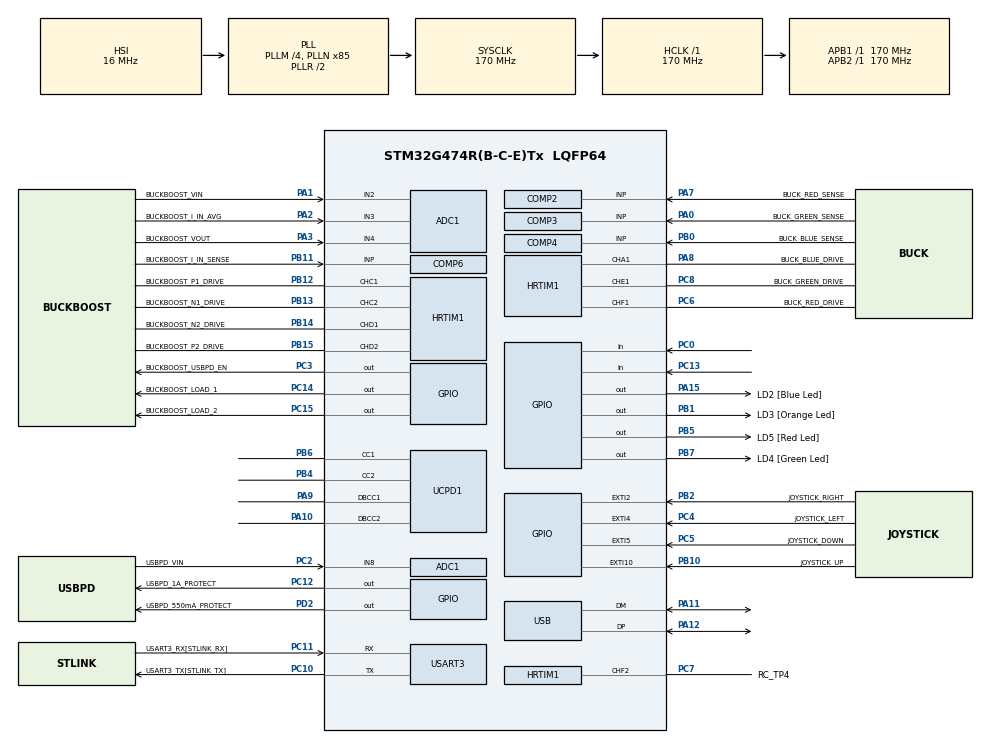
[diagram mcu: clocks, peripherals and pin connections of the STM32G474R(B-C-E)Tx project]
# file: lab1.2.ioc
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ADC1.Channel-0\#ChannelRegularConversion=ADC_CHANNEL_8
ADC1.NbrOfConversionFlag=1
ADC1.OffsetNumber-0\#ChannelRegularConversion=ADC_OFFSET_NONE
ADC1.Rank-0\#ChannelRegularConversion=1
ADC1.SamplingTime-0\#ChannelRegularConversion=ADC_SAMPLETIME_2CYCLES_5
ADC1.master=1
DAC3.DAC_Channel-DAC_OUT2_Int=DAC_CHANNEL_2
Mcu.Family=STM32G4
Mcu.Name=STM32G474R(B-C-E)Tx
Mcu.Package=LQFP64
NVIC.ADC1_2_IRQn=true\:0\:0\:false\:false\:true\:true\:true\:true
NVIC.EXTI15_10_IRQn=true\:0\:0\:false\:false\:true\:true\:true\:true
NVIC.EXTI2_IRQn=true\:0\:0\:false\:false\:true\:true\:true\:true
NVIC.EXTI4_IRQn=true\:0\:0\:false\:false\:true\:true\:true\:true
NVIC.EXTI9_5_IRQn=true\:0\:0\:false\:false\:true\:true\:true\:true
NVIC.HRTIM1_Master_IRQn=true\:0\:0\:false\:false\:true\:true\:true\:true
NVIC.HRTIM1_TIMF_IRQn=true\:0\:0\:false\:false\:true\:true\:true\:true
NVIC.PriorityGroup=NVIC_PRIORITYGROUP_4
NVIC.USART3_IRQn=true\:0\:0\:false\:false\:true\:true\:true\:true
NVIC.USB_HP_IRQn=true\:0\:0\:false\:false\:true\:true\:true\:true
PA0.GPIO_Label=BUCK_GREEN_SENSE
PA0.Mode=INP
PA0.Signal=COMP3_INP
PA1.GPIO_Label=BUCKBOOST_VIN
PA1.Mode=IN2-Single-Ended
PA1.Signal=ADC1_IN2
PA10.Mode=EnableDeadBattery
PA10.Signal=UCPD1_DBCC2
PA11.Mode=Device
PA11.Signal=USB_DM
PA12.Mode=Device
PA12.Signal=USB_DP
PA13.Mode=Serial_Wire
PA13.Signal=SYS_JTMS-SWDIO
PA14.Mode=Serial_Wire
PA14.Signal=SYS_JTCK-SWCLK
PA15.GPIO_Label=LD2 [Blue Led]
PA15.Signal=GPIO_Output
PA2.GPIO_Label=BUCKBOOST_I_IN_AVG
PA2.Mode=IN3-Single-Ended
PA2.Signal=ADC1_IN3
PA3.GPIO_Label=BUCKBOOST_VOUT
PA3.Mode=IN4-Single-Ended
PA3.Signal=ADC1_IN4
PA7.GPIO_Label=BUCK_RED_SENSE
PA7.Mode=INP
PA7.Signal=COMP2_INP
PA8.GPIO_Label=BUCK_BLUE_DRIVE
PA8.Mode=Output_TA1
PA8.Signal=HRTIM1_CHA1
PA9.Mode=EnableDeadBattery
PA9.Signal=UCPD1_DBCC1
PB0.GPIO_Label=BUCK_BLUE_SENSE
PB0.Mode=INP
PB0.Signal=COMP4_INP
PB1.GPIO_Label=LD3 [Orange Led]
PB1.Signal=GPIO_Output
PB10.GPIO_Label=JOYSTICK_UP
PB10.GPIO_PuPd=GPIO_PULLUP
PB10.Signal=GPXTI10
PB11.GPIO_Label=BUCKBOOST_I_IN_SENSE
PB11.Mode=INP
PB11.Signal=COMP6_INP
PB12.GPIO_Label=BUCKBOOST_P1_DRIVE
PB12.Mode=Output_TC1TC2
PB12.Signal=HRTIM1_CHC1
PB13.GPIO_Label=BUCKBOOST_N1_DRIVE
PB13.Mode=Output_TC1TC2
PB13.Signal=HRTIM1_CHC2
PB14.GPIO_Label=BUCKBOOST_N2_DRIVE
PB14.Mode=Output_TD1TD2
PB14.Signal=HRTIM1_CHD1
PB15.GPIO_Label=BUCKBOOST_P2_DRIVE
PB15.Mode=Output_TD1TD2
PB15.Signal=HRTIM1_CHD2
PB2.GPIO_Label=JOYSTICK_RIGHT
PB2.GPIO_PuPd=GPIO_PULLUP
PB2.Signal=GPXTI2
PB3.Signal=SYS_JTDO-SWO
PB4.Mode=Sink_AllSignals
PB4.Signal=UCPD1_CC2
PB5.GPIO_Label=LD5 [Red Led]
PB5.Signal=GPIO_Output
PB6.Mode=Sink_AllSignals
PB6.Signal=UCPD1_CC1
PB7.GPIO_Label=LD4 [Green Led]
PB7.Signal=GPIO_Output
PC0.GPIO_PuPd=GPIO_PULLDOWN
PC0.Signal=GPIO_Input
PC10.GPIO_Label=USART3_TX[STLINK_TX]
PC10.GPIO_Speed=GPIO_SPEED_FREQ_MEDIUM
PC10.Mode=Asynchronous
PC10.Signal=USART3_TX
PC11.GPIO_Label=USART3_RX[STLINK_RX]
PC11.GPIO_Speed=GPIO_SPEED_FREQ_MEDIUM
PC11.Mode=Asynchronous
PC11.Signal=USART3_RX
PC12.GPIO_Label=USBPD_1A_PROTECT
PC12.Signal=GPIO_Output
PC13.Signal=GPIO_Input
PC14-OSC32_IN.GPIO_Label=BUCKBOOST_LOAD_1
PC14-OSC32_IN.Signal=GPIO_Output
PC15-OSC32_OUT.GPIO_Label=BUCKBOOST_LOAD_2
PC15-OSC32_OUT.Signal=GPIO_Output
PC2.GPIO_Label=USBPD_VIN
PC2.Mode=IN8-Single-Ended
PC2.Signal=ADC1_IN8
PC3.GPIO_Label=BUCKBOOST_USBPD_EN
PC3.Signal=GPIO_Output
PC4.GPIO_Label=JOYSTICK_LEFT
PC4.GPIO_PuPd=GPIO_PULLUP
PC4.Signal=GPXTI4
PC5.GPIO_Label=JOYSTICK_DOWN
PC5.GPIO_PuPd=GPIO_PULLUP
PC5.Signal=GPXTI5
PC6.GPIO_Label=BUCK_RED_DRIVE
PC6.Mode=Output_TF1TF2
PC6.Signal=HRTIM1_CHF1
PC7.GPIO_Label=RC_TP4
PC7.Mode=Output_TF1TF2
PC7.Signal=HRTIM1_CHF2
PC8.GPIO_Label=BUCK_GREEN_DRIVE
PC8.Mode=Output_TE1
PC8.Signal=HRTIM1_CHE1
PD2.GPIO_Label=USBPD_550mA_PROTECT
PD2.Signal=GPIO_Output
ProjectManager.HeapSize=0x200
ProjectManager.StackSize=0x400
ProjectManager.TargetToolchain=STM32CubeIDE
RCC.ADC12Freq_Value=170000000
RCC.ADC345Freq_Value=170000000
RCC.AHBFreq_Value=170000000
RCC.APB1Freq_Value=170000000
RCC.APB1TimFreq_Value=170000000
RCC.APB2Freq_Value=170000000
RCC.APB2TimFreq_Value=170000000
RCC.CK48CLockSelection=RCC_USBCLKSOURCE_HSI48
RCC.CortexFreq_Value=170000000
RCC.EXTERNAL_CLOCK_VALUE=12288000
RCC.HCLKFreq_Value=170000000
RCC.HSE_VALUE=8000000
RCC.HSI48_VALUE=48000000
RCC.HSI_VALUE=16000000
RCC.LSE_VALUE=32768
RCC.PLLM=RCC_PLLM_DIV4
RCC.PLLN=85
RCC.PLLP=RCC_PLLP_DIV8
RCC.PLLQ=RCC_PLLQ_DIV8
RCC.SYSCLKFreq_VALUE=170000000
RCC.SYSCLKSource=RCC_SYSCLKSOURCE_PLLCLK
RCC.USBFreq_Value=48000000
RCC.VCOOutputFreq_Value=340000000
USART3.ClockPrescaler=PRESCALER_DIV4
USART3.VirtualMode-Asynchronous=VM_ASYNC
USART3.WordLength=WORDLENGTH_8B
VP_COMP2_VS_DAC3OUT2.Mode=INM_DAC3OUT2
VP_COMP3_VS_DAC3OUT1.Mode=INM_DAC3OUT1
VP_COMP4_VS_DAC1OUT1.Mode=INM_DAC1OUT1
VP_COMP6_VS_DAC2OUT1.Mode=INM_DAC2OUT1
VP_DAC1_VS_DACI1.Mode=DAC_OUT1_Int
VP_DAC2_VS_DACI1.Mode=DAC_OUT1_Int
VP_DAC3_VS_DACI1.Mode=DAC_OUT1_Int
VP_DAC3_VS_DACI2.Mode=DAC_OUT2_Int
board=B-G474E-DPOW1

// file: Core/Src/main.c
/* USER CODE BEGIN Header */
/**
  ******************************************************************************
  * @file           : main.c
  * @brief          : Main program body
  ******************************************************************************
  * @attention
  *
  * Copyright (c) 2025 STMicroelectronics.
  * All rights reserved.
  *
  * This software is licensed under terms that can be found in the LICENSE file
  * in the root directory of this software component.
  * If no LICENSE file comes with this software, it is provided AS-IS.
  *
  ******************************************************************************
  */
/* USER CODE END Header */
#include "main.h"

ADC_HandleTypeDef hadc1;

COMP_HandleTypeDef hcomp2;
COMP_HandleTypeDef hcomp3;
COMP_HandleTypeDef hcomp4;
COMP_HandleTypeDef hcomp6;

DAC_HandleTypeDef hdac1;
DAC_HandleTypeDef hdac2;
DAC_HandleTypeDef hdac3;

HRTIM_HandleTypeDef hhrtim1;

UART_HandleTypeDef huart3;

PCD_HandleTypeDef hpcd_USB_FS;

void SystemClock_Config(void);
static void MX_GPIO_Init(void);
static void MX_ADC1_Init(void);
static void MX_COMP2_Init(void);
static void MX_COMP3_Init(void);
static void MX_COMP4_Init(void);
static void MX_COMP6_Init(void);
static void MX_DAC1_Init(void);
static void MX_DAC2_Init(void);
static void MX_DAC3_Init(void);
static void MX_HRTIM1_Init(void);
static void MX_UCPD1_Init(void);
static void MX_USART3_UART_Init(void);
static void MX_USB_PCD_Init(void);

int main(void)
{

  /* MCU Configuration--------------------------------------------------------*/

  /* Reset of all peripherals, Initializes the Flash interface and the Systick. */
  HAL_Init();

  /* Configure the system clock */
  SystemClock_Config();

  /* Initialize all configured peripherals */
  MX_GPIO_Init();
  MX_ADC1_Init();
  MX_COMP2_Init();
  MX_COMP3_Init();
  MX_COMP4_Init();
  MX_COMP6_Init();
  MX_DAC1_Init();
  MX_DAC2_Init();
  MX_DAC3_Init();
  MX_HRTIM1_Init();
  MX_UCPD1_Init();
  MX_USART3_UART_Init();
  MX_USB_PCD_Init();

  /* Infinite loop */
  /* USER CODE BEGIN WHILE */
  while (1)
  {
	  char button=HAL_GPIO_ReadPin(GPIOC, GPIO_PIN_0);
	  if (button==1) {
HAL_GPIO_TogglePin(GPIOA, GPIO_PIN_15);
      HAL_Delay(500);
      HAL_GPIO_TogglePin(GPIOA, GPIO_PIN_15);
            HAL_Delay(500);
            HAL_GPIO_TogglePin(GPIOA, GPIO_PIN_15);
                  HAL_Delay(500);
                  HAL_GPIO_TogglePin(GPIOA, GPIO_PIN_15);
                        HAL_Delay(500);
                        HAL_GPIO_TogglePin(GPIOA, GPIO_PIN_15);
                        HAL_Delay(500);

	}
	  else {
		  HAL_GPIO_WritePin(GPIOA, GPIO_PIN_15, GPIO_PIN_RESET);
	      HAL_Delay(500);
	}
    /* USER CODE END WHILE */

  }
}

void SystemClock_Config(void)
{
  RCC_OscInitTypeDef RCC_OscInitStruct = {0};
  RCC_ClkInitTypeDef RCC_ClkInitStruct = {0};

  /** Configure the main internal regulator output voltage
  */
  HAL_PWREx_ControlVoltageScaling(PWR_REGULATOR_VOLTAGE_SCALE1_BOOST);

  /** Initializes the RCC Oscillators according to the specified parameters
  * in the RCC_OscInitTypeDef structure.
  */
  RCC_OscInitStruct.OscillatorType = RCC_OSCILLATORTYPE_HSI|RCC_OSCILLATORTYPE_HSI48;
  RCC_OscInitStruct.HSIState = RCC_HSI_ON;
  RCC_OscInitStruct.HSICalibrationValue = RCC_HSICALIBRATION_DEFAULT;
  RCC_OscInitStruct.HSI48State = RCC_HSI48_ON;
  RCC_OscInitStruct.PLL.PLLState = RCC_PLL_ON;
  RCC_OscInitStruct.PLL.PLLSource = RCC_PLLSOURCE_HSI;
  RCC_OscInitStruct.PLL.PLLM = RCC_PLLM_DIV4;
  RCC_OscInitStruct.PLL.PLLN = 85;
  RCC_OscInitStruct.PLL.PLLP = RCC_PLLP_DIV8;
  RCC_OscInitStruct.PLL.PLLQ = RCC_PLLQ_DIV8;
  RCC_OscInitStruct.PLL.PLLR = RCC_PLLR_DIV2;
  if (HAL_RCC_OscConfig(&RCC_OscInitStruct) != HAL_OK)
  {
    Error_Handler();
  }

  /** Initializes the CPU, AHB and APB buses clocks
  */
  RCC_ClkInitStruct.ClockType = RCC_CLOCKTYPE_HCLK|RCC_CLOCKTYPE_SYSCLK
                              |RCC_CLOCKTYPE_PCLK1|RCC_CLOCKTYPE_PCLK2;
  RCC_ClkInitStruct.SYSCLKSource = RCC_SYSCLKSOURCE_PLLCLK;
  RCC_ClkInitStruct.AHBCLKDivider = RCC_SYSCLK_DIV1;
  RCC_ClkInitStruct.APB1CLKDivider = RCC_HCLK_DIV1;
  RCC_ClkInitStruct.APB2CLKDivider = RCC_HCLK_DIV1;

  if (HAL_RCC_ClockConfig(&RCC_ClkInitStruct, FLASH_LATENCY_4) != HAL_OK)
  {
    Error_Handler();
  }
}

static void MX_ADC1_Init(void)
{

  ADC_MultiModeTypeDef multimode = {0};
  ADC_ChannelConfTypeDef sConfig = {0};

  /** Common config
  */
  hadc1.Instance = ADC1;
  hadc1.Init.ClockPrescaler = ADC_CLOCK_SYNC_PCLK_DIV4;
  hadc1.Init.Resolution = ADC_RESOLUTION_12B;
  hadc1.Init.DataAlign = ADC_DATAALIGN_RIGHT;
  hadc1.Init.GainCompensation = 0;
  hadc1.Init.ScanConvMode = ADC_SCAN_DISABLE;
  hadc1.Init.EOCSelection = ADC_EOC_SINGLE_CONV;
  hadc1.Init.LowPowerAutoWait = DISABLE;
  hadc1.Init.ContinuousConvMode = DISABLE;
  hadc1.Init.NbrOfConversion = 1;
  hadc1.Init.DiscontinuousConvMode = DISABLE;
  hadc1.Init.ExternalTrigConv = ADC_SOFTWARE_START;
  hadc1.Init.ExternalTrigConvEdge = ADC_EXTERNALTRIGCONVEDGE_NONE;
  hadc1.Init.DMAContinuousRequests = DISABLE;
  hadc1.Init.Overrun = ADC_OVR_DATA_PRESERVED;
  hadc1.Init.OversamplingMode = DISABLE;
  if (HAL_ADC_Init(&hadc1) != HAL_OK)
  {
    Error_Handler();
  }

  /** Configure the ADC multi-mode
  */
  multimode.Mode = ADC_MODE_INDEPENDENT;
  if (HAL_ADCEx_MultiModeConfigChannel(&hadc1, &multimode) != HAL_OK)
  {
    Error_Handler();
  }

  /** Configure Regular Channel
  */
  sConfig.Channel = ADC_CHANNEL_8;
  sConfig.Rank = ADC_REGULAR_RANK_1;
  sConfig.SamplingTime = ADC_SAMPLETIME_2CYCLES_5;
  sConfig.SingleDiff = ADC_SINGLE_ENDED;
  sConfig.OffsetNumber = ADC_OFFSET_NONE;
  sConfig.Offset = 0;
  if (HAL_ADC_ConfigChannel(&hadc1, &sConfig) != HAL_OK)
  {
    Error_Handler();
  }

}

static void MX_COMP2_Init(void)
{

  hcomp2.Instance = COMP2;
  hcomp2.Init.InputPlus = COMP_INPUT_PLUS_IO1;
  hcomp2.Init.InputMinus = COMP_INPUT_MINUS_DAC3_CH2;
  hcomp2.Init.OutputPol = COMP_OUTPUTPOL_NONINVERTED;
  hcomp2.Init.Hysteresis = COMP_HYSTERESIS_NONE;
  hcomp2.Init.BlankingSrce = COMP_BLANKINGSRC_NONE;
  hcomp2.Init.TriggerMode = COMP_TRIGGERMODE_NONE;
  if (HAL_COMP_Init(&hcomp2) != HAL_OK)
  {
    Error_Handler();
  }

}

static void MX_COMP3_Init(void)
{

  hcomp3.Instance = COMP3;
  hcomp3.Init.InputPlus = COMP_INPUT_PLUS_IO1;
  hcomp3.Init.InputMinus = COMP_INPUT_MINUS_DAC3_CH1;
  hcomp3.Init.OutputPol = COMP_OUTPUTPOL_NONINVERTED;
  hcomp3.Init.Hysteresis = COMP_HYSTERESIS_NONE;
  hcomp3.Init.BlankingSrce = COMP_BLANKINGSRC_NONE;
  hcomp3.Init.TriggerMode = COMP_TRIGGERMODE_NONE;
  if (HAL_COMP_Init(&hcomp3) != HAL_OK)
  {
    Error_Handler();
  }

}

static void MX_COMP4_Init(void)
{

  hcomp4.Instance = COMP4;
  hcomp4.Init.InputPlus = COMP_INPUT_PLUS_IO1;
  hcomp4.Init.InputMinus = COMP_INPUT_MINUS_DAC1_CH1;
  hcomp4.Init.OutputPol = COMP_OUTPUTPOL_NONINVERTED;
  hcomp4.Init.Hysteresis = COMP_HYSTERESIS_NONE;
  hcomp4.Init.BlankingSrce = COMP_BLANKINGSRC_NONE;
  hcomp4.Init.TriggerMode = COMP_TRIGGERMODE_NONE;
  if (HAL_COMP_Init(&hcomp4) != HAL_OK)
  {
    Error_Handler();
  }

}

static void MX_COMP6_Init(void)
{

  hcomp6.Instance = COMP6;
  hcomp6.Init.InputPlus = COMP_INPUT_PLUS_IO1;
  hcomp6.Init.InputMinus = COMP_INPUT_MINUS_DAC2_CH1;
  hcomp6.Init.OutputPol = COMP_OUTPUTPOL_NONINVERTED;
  hcomp6.Init.Hysteresis = COMP_HYSTERESIS_NONE;
  hcomp6.Init.BlankingSrce = COMP_BLANKINGSRC_NONE;
  hcomp6.Init.TriggerMode = COMP_TRIGGERMODE_NONE;
  if (HAL_COMP_Init(&hcomp6) != HAL_OK)
  {
    Error_Handler();
  }

}

static void MX_DAC1_Init(void)
{

  DAC_ChannelConfTypeDef sConfig = {0};

  /** DAC Initialization
  */
  hdac1.Instance = DAC1;
  if (HAL_DAC_Init(&hdac1) != HAL_OK)
  {
    Error_Handler();
  }

  /** DAC channel OUT1 config
  */
  sConfig.DAC_HighFrequency = DAC_HIGH_FREQUENCY_INTERFACE_MODE_AUTOMATIC;
  sConfig.DAC_DMADoubleDataMode = DISABLE;
  sConfig.DAC_SignedFormat = DISABLE;
  sConfig.DAC_SampleAndHold = DAC_SAMPLEANDHOLD_DISABLE;
  sConfig.DAC_Trigger = DAC_TRIGGER_NONE;
  sConfig.DAC_Trigger2 = DAC_TRIGGER_NONE;
  sConfig.DAC_OutputBuffer = DAC_OUTPUTBUFFER_DISABLE;
  sConfig.DAC_ConnectOnChipPeripheral = DAC_CHIPCONNECT_INTERNAL;
  sConfig.DAC_UserTrimming = DAC_TRIMMING_FACTORY;
  if (HAL_DAC_ConfigChannel(&hdac1, &sConfig, DAC_CHANNEL_1) != HAL_OK)
  {
    Error_Handler();
  }

}

static void MX_DAC2_Init(void)
{

  DAC_ChannelConfTypeDef sConfig = {0};

  /** DAC Initialization
  */
  hdac2.Instance = DAC2;
  if (HAL_DAC_Init(&hdac2) != HAL_OK)
  {
    Error_Handler();
  }

  /** DAC channel OUT1 config
  */
  sConfig.DAC_HighFrequency = DAC_HIGH_FREQUENCY_INTERFACE_MODE_AUTOMATIC;
  sConfig.DAC_DMADoubleDataMode = DISABLE;
  sConfig.DAC_SignedFormat = DISABLE;
  sConfig.DAC_SampleAndHold = DAC_SAMPLEANDHOLD_DISABLE;
  sConfig.DAC_Trigger = DAC_TRIGGER_NONE;
  sConfig.DAC_Trigger2 = DAC_TRIGGER_NONE;
  sConfig.DAC_OutputBuffer = DAC_OUTPUTBUFFER_DISABLE;
  sConfig.DAC_ConnectOnChipPeripheral = DAC_CHIPCONNECT_INTERNAL;
  sConfig.DAC_UserTrimming = DAC_TRIMMING_FACTORY;
  if (HAL_DAC_ConfigChannel(&hdac2, &sConfig, DAC_CHANNEL_1) != HAL_OK)
  {
    Error_Handler();
  }

}

static void MX_DAC3_Init(void)
{

  DAC_ChannelConfTypeDef sConfig = {0};

  /** DAC Initialization
  */
  hdac3.Instance = DAC3;
  if (HAL_DAC_Init(&hdac3) != HAL_OK)
  {
    Error_Handler();
  }

  /** DAC channel OUT1 config
  */
  sConfig.DAC_HighFrequency = DAC_HIGH_FREQUENCY_INTERFACE_MODE_AUTOMATIC;
  sConfig.DAC_DMADoubleDataMode = DISABLE;
  sConfig.DAC_SignedFormat = DISABLE;
  sConfig.DAC_SampleAndHold = DAC_SAMPLEANDHOLD_DISABLE;
  sConfig.DAC_Trigger = DAC_TRIGGER_NONE;
  sConfig.DAC_Trigger2 = DAC_TRIGGER_NONE;
  sConfig.DAC_OutputBuffer = DAC_OUTPUTBUFFER_DISABLE;
  sConfig.DAC_ConnectOnChipPeripheral = DAC_CHIPCONNECT_INTERNAL;
  sConfig.DAC_UserTrimming = DAC_TRIMMING_FACTORY;
  if (HAL_DAC_ConfigChannel(&hdac3, &sConfig, DAC_CHANNEL_1) != HAL_OK)
  {
    Error_Handler();
  }

  /** DAC channel OUT2 config
  */
  if (HAL_DAC_ConfigChannel(&hdac3, &sConfig, DAC_CHANNEL_2) != HAL_OK)
  {
    Error_Handler();
  }

}

static void MX_HRTIM1_Init(void)
{

  HRTIM_TimeBaseCfgTypeDef pTimeBaseCfg = {0};
  HRTIM_TimerCtlTypeDef pTimerCtl = {0};
  HRTIM_TimerCfgTypeDef pTimerCfg = {0};
  HRTIM_OutputCfgTypeDef pOutputCfg = {0};

  hhrtim1.Instance = HRTIM1;
  hhrtim1.Init.HRTIMInterruptResquests = HRTIM_IT_NONE;
  hhrtim1.Init.SyncOptions = HRTIM_SYNCOPTION_NONE;
  if (HAL_HRTIM_Init(&hhrtim1) != HAL_OK)
  {
    Error_Handler();
  }
  if (HAL_HRTIM_DLLCalibrationStart(&hhrtim1, HRTIM_CALIBRATIONRATE_3) != HAL_OK)
  {
    Error_Handler();
  }
  if (HAL_HRTIM_PollForDLLCalibration(&hhrtim1, 10) != HAL_OK)
  {
    Error_Handler();
  }
  pTimeBaseCfg.Period = 0xFFDF;
  pTimeBaseCfg.RepetitionCounter = 0x00;
  pTimeBaseCfg.PrescalerRatio = HRTIM_PRESCALERRATIO_MUL32;
  pTimeBaseCfg.Mode = HRTIM_MODE_CONTINUOUS;
  if (HAL_HRTIM_TimeBaseConfig(&hhrtim1, HRTIM_TIMERINDEX_TIMER_A, &pTimeBaseCfg) != HAL_OK)
  {
    Error_Handler();
  }
  pTimerCtl.UpDownMode = HRTIM_TIMERUPDOWNMODE_UP;
  pTimerCtl.DualChannelDacEnable = HRTIM_TIMER_DCDE_DISABLED;
  if (HAL_HRTIM_WaveformTimerControl(&hhrtim1, HRTIM_TIMERINDEX_TIMER_A, &pTimerCtl) != HAL_OK)
  {
    Error_Handler();
  }
  pTimerCfg.InterruptRequests = HRTIM_TIM_IT_NONE;
  pTimerCfg.DMARequests = HRTIM_TIM_DMA_NONE;
  pTimerCfg.DMASrcAddress = 0x0000;
  pTimerCfg.DMADstAddress = 0x0000;
  pTimerCfg.DMASize = 0x1;
  pTimerCfg.HalfModeEnable = HRTIM_HALFMODE_DISABLED;
  pTimerCfg.InterleavedMode = HRTIM_INTERLEAVED_MODE_DISABLED;
  pTimerCfg.StartOnSync = HRTIM_SYNCSTART_DISABLED;
  pTimerCfg.ResetOnSync = HRTIM_SYNCRESET_DISABLED;
  pTimerCfg.DACSynchro = HRTIM_DACSYNC_NONE;
  pTimerCfg.PreloadEnable = HRTIM_PRELOAD_DISABLED;
  pTimerCfg.UpdateGating = HRTIM_UPDATEGATING_INDEPENDENT;
  pTimerCfg.BurstMode = HRTIM_TIMERBURSTMODE_MAINTAINCLOCK;
  pTimerCfg.RepetitionUpdate = HRTIM_UPDATEONREPETITION_DISABLED;
  pTimerCfg.PushPull = HRTIM_TIMPUSHPULLMODE_DISABLED;
  pTimerCfg.FaultEnable = HRTIM_TIMFAULTENABLE_NONE;
  pTimerCfg.FaultLock = HRTIM_TIMFAULTLOCK_READWRITE;
  pTimerCfg.DeadTimeInsertion = HRTIM_TIMDEADTIMEINSERTION_DISABLED;
  pTimerCfg.DelayedProtectionMode = HRTIM_TIMER_A_B_C_DELAYEDPROTECTION_DISABLED;
  pTimerCfg.UpdateTrigger = HRTIM_TIMUPDATETRIGGER_NONE;
  pTimerCfg.ResetTrigger = HRTIM_TIMRESETTRIGGER_NONE;
  pTimerCfg.ResetUpdate = HRTIM_TIMUPDATEONRESET_DISABLED;
  pTimerCfg.ReSyncUpdate = HRTIM_TIMERESYNC_UPDATE_UNCONDITIONAL;
  if (HAL_HRTIM_WaveformTimerConfig(&hhrtim1, HRTIM_TIMERINDEX_TIMER_A, &pTimerCfg) != HAL_OK)
  {
    Error_Handler();
  }
  if (HAL_HRTIM_WaveformTimerConfig(&hhrtim1, HRTIM_TIMERINDEX_TIMER_C, &pTimerCfg) != HAL_OK)
  {
    Error_Handler();
  }
  pTimerCfg.DelayedProtectionMode = HRTIM_TIMER_D_E_DELAYEDPROTECTION_DISABLED;
  if (HAL_HRTIM_WaveformTimerConfig(&hhrtim1, HRTIM_TIMERINDEX_TIMER_D, &pTimerCfg) != HAL_OK)
  {
    Error_Handler();
  }
  if (HAL_HRTIM_WaveformTimerConfig(&hhrtim1, HRTIM_TIMERINDEX_TIMER_E, &pTimerCfg) != HAL_OK)
  {
    Error_Handler();
  }
  pTimerCfg.DelayedProtectionMode = HRTIM_TIMER_F_DELAYEDPROTECTION_DISABLED;
  if (HAL_HRTIM_WaveformTimerConfig(&hhrtim1, HRTIM_TIMERINDEX_TIMER_F, &pTimerCfg) != HAL_OK)
  {
    Error_Handler();
  }
  pOutputCfg.Polarity = HRTIM_OUTPUTPOLARITY_HIGH;
  pOutputCfg.SetSource = HRTIM_OUTPUTSET_NONE;
  pOutputCfg.ResetSource = HRTIM_OUTPUTRESET_NONE;
  pOutputCfg.IdleMode = HRTIM_OUTPUTIDLEMODE_NONE;
  pOutputCfg.IdleLevel = HRTIM_OUTPUTIDLELEVEL_INACTIVE;
  pOutputCfg.FaultLevel = HRTIM_OUTPUTFAULTLEVEL_NONE;
  pOutputCfg.ChopperModeEnable = HRTIM_OUTPUTCHOPPERMODE_DISABLED;
  pOutputCfg.BurstModeEntryDelayed = HRTIM_OUTPUTBURSTMODEENTRY_REGULAR;
  if (HAL_HRTIM_WaveformOutputConfig(&hhrtim1, HRTIM_TIMERINDEX_TIMER_A, HRTIM_OUTPUT_TA1, &pOutputCfg) != HAL_OK)
  {
    Error_Handler();
  }
  if (HAL_HRTIM_WaveformOutputConfig(&hhrtim1, HRTIM_TIMERINDEX_TIMER_C, HRTIM_OUTPUT_TC1, &pOutputCfg) != HAL_OK)
  {
    Error_Handler();
  }
  if (HAL_HRTIM_WaveformOutputConfig(&hhrtim1, HRTIM_TIMERINDEX_TIMER_D, HRTIM_OUTPUT_TD1, &pOutputCfg) != HAL_OK)
  {
    Error_Handler();
  }
  if (HAL_HRTIM_WaveformOutputConfig(&hhrtim1, HRTIM_TIMERINDEX_TIMER_E, HRTIM_OUTPUT_TE1, &pOutputCfg) != HAL_OK)
  {
    Error_Handler();
  }
  if (HAL_HRTIM_WaveformOutputConfig(&hhrtim1, HRTIM_TIMERINDEX_TIMER_F, HRTIM_OUTPUT_TF1, &pOutputCfg) != HAL_OK)
  {
    Error_Handler();
  }
  if (HAL_HRTIM_TimeBaseConfig(&hhrtim1, HRTIM_TIMERINDEX_TIMER_C, &pTimeBaseCfg) != HAL_OK)
  {
    Error_Handler();
  }
  if (HAL_HRTIM_WaveformTimerControl(&hhrtim1, HRTIM_TIMERINDEX_TIMER_C, &pTimerCtl) != HAL_OK)
  {
    Error_Handler();
  }
  if (HAL_HRTIM_WaveformOutputConfig(&hhrtim1, HRTIM_TIMERINDEX_TIMER_C, HRTIM_OUTPUT_TC2, &pOutputCfg) != HAL_OK)
  {
    Error_Handler();
  }
  if (HAL_HRTIM_WaveformOutputConfig(&hhrtim1, HRTIM_TIMERINDEX_TIMER_D, HRTIM_OUTPUT_TD2, &pOutputCfg) != HAL_OK)
  {
    Error_Handler();
  }
  if (HAL_HRTIM_WaveformOutputConfig(&hhrtim1, HRTIM_TIMERINDEX_TIMER_F, HRTIM_OUTPUT_TF2, &pOutputCfg) != HAL_OK)
  {
    Error_Handler();
  }
  if (HAL_HRTIM_TimeBaseConfig(&hhrtim1, HRTIM_TIMERINDEX_TIMER_D, &pTimeBaseCfg) != HAL_OK)
  {
    Error_Handler();
  }
  if (HAL_HRTIM_WaveformTimerControl(&hhrtim1, HRTIM_TIMERINDEX_TIMER_D, &pTimerCtl) != HAL_OK)
  {
    Error_Handler();
  }
  if (HAL_HRTIM_TimeBaseConfig(&hhrtim1, HRTIM_TIMERINDEX_TIMER_E, &pTimeBaseCfg) != HAL_OK)
  {
    Error_Handler();
  }
  if (HAL_HRTIM_WaveformTimerControl(&hhrtim1, HRTIM_TIMERINDEX_TIMER_E, &pTimerCtl) != HAL_OK)
  {
    Error_Handler();
  }
  if (HAL_HRTIM_TimeBaseConfig(&hhrtim1, HRTIM_TIMERINDEX_TIMER_F, &pTimeBaseCfg) != HAL_OK)
  {
    Error_Handler();
  }
  if (HAL_HRTIM_WaveformTimerControl(&hhrtim1, HRTIM_TIMERINDEX_TIMER_F, &pTimerCtl) != HAL_OK)
  {
    Error_Handler();
  }
  HAL_HRTIM_MspPostInit(&hhrtim1);

}

static void MX_UCPD1_Init(void)
{

  LL_GPIO_InitTypeDef GPIO_InitStruct = {0};

  /* Peripheral clock enable */
  LL_APB1_GRP2_EnableClock(LL_APB1_GRP2_PERIPH_UCPD1);

  LL_AHB2_GRP1_EnableClock(LL_AHB2_GRP1_PERIPH_GPIOB);
  /**UCPD1 GPIO Configuration
  PB4   ------> UCPD1_CC2
  PB6   ------> UCPD1_CC1
  */
  GPIO_InitStruct.Pin = LL_GPIO_PIN_4;
  GPIO_InitStruct.Mode = LL_GPIO_MODE_ANALOG;
  GPIO_InitStruct.Pull = LL_GPIO_PULL_NO;
  LL_GPIO_Init(GPIOB, &GPIO_InitStruct);

  GPIO_InitStruct.Pin = LL_GPIO_PIN_6;
  GPIO_InitStruct.Mode = LL_GPIO_MODE_ANALOG;
  GPIO_InitStruct.Pull = LL_GPIO_PULL_NO;
  LL_GPIO_Init(GPIOB, &GPIO_InitStruct);

}

static void MX_USART3_UART_Init(void)
{

  huart3.Instance = USART3;
  huart3.Init.BaudRate = 115200;
  huart3.Init.WordLength = UART_WORDLENGTH_8B;
  huart3.Init.StopBits = UART_STOPBITS_1;
  huart3.Init.Parity = UART_PARITY_NONE;
  huart3.Init.Mode = UART_MODE_TX_RX;
  huart3.Init.HwFlowCtl = UART_HWCONTROL_NONE;
  huart3.Init.OverSampling = UART_OVERSAMPLING_16;
  huart3.Init.OneBitSampling = UART_ONE_BIT_SAMPLE_DISABLE;
  huart3.Init.ClockPrescaler = UART_PRESCALER_DIV4;
  huart3.AdvancedInit.AdvFeatureInit = UART_ADVFEATURE_NO_INIT;
  if (HAL_UART_Init(&huart3) != HAL_OK)
  {
    Error_Handler();
  }
  if (HAL_UARTEx_SetTxFifoThreshold(&huart3, UART_TXFIFO_THRESHOLD_1_8) != HAL_OK)
  {
    Error_Handler();
  }
  if (HAL_UARTEx_SetRxFifoThreshold(&huart3, UART_RXFIFO_THRESHOLD_1_8) != HAL_OK)
  {
    Error_Handler();
  }
  if (HAL_UARTEx_DisableFifoMode(&huart3) != HAL_OK)
  {
    Error_Handler();
  }

}

static void MX_USB_PCD_Init(void)
{

  hpcd_USB_FS.Instance = USB;
  hpcd_USB_FS.Init.dev_endpoints = 8;
  hpcd_USB_FS.Init.speed = PCD_SPEED_FULL;
  hpcd_USB_FS.Init.phy_itface = PCD_PHY_EMBEDDED;
  hpcd_USB_FS.Init.Sof_enable = DISABLE;
  hpcd_USB_FS.Init.low_power_enable = DISABLE;
  hpcd_USB_FS.Init.lpm_enable = DISABLE;
  hpcd_USB_FS.Init.battery_charging_enable = DISABLE;
  if (HAL_PCD_Init(&hpcd_USB_FS) != HAL_OK)
  {
    Error_Handler();
  }

}

static void MX_GPIO_Init(void)
{
  GPIO_InitTypeDef GPIO_InitStruct = {0};

  /* GPIO Ports Clock Enable */
  __HAL_RCC_GPIOC_CLK_ENABLE();
  __HAL_RCC_GPIOA_CLK_ENABLE();
  __HAL_RCC_GPIOB_CLK_ENABLE();
  __HAL_RCC_GPIOD_CLK_ENABLE();

  /*Configure GPIO pin Output Level */
  HAL_GPIO_WritePin(GPIOC, BUCKBOOST_LOAD_1_Pin|BUCKBOOST_LOAD_2_Pin|BUCKBOOST_USBPD_EN_Pin|USBPD_1A_PROTECT_Pin, GPIO_PIN_RESET);

  /*Configure GPIO pin Output Level */
  HAL_GPIO_WritePin(GPIOB, LD3_Pin|LD5_Pin|LD4_Pin, GPIO_PIN_RESET);

  /*Configure GPIO pin Output Level */
  HAL_GPIO_WritePin(LD2_GPIO_Port, LD2_Pin, GPIO_PIN_RESET);

  /*Configure GPIO pin Output Level */
  HAL_GPIO_WritePin(USBPD_550mA_PROTECT_GPIO_Port, USBPD_550mA_PROTECT_Pin, GPIO_PIN_RESET);

  /*Configure GPIO pin : PC13 */
  GPIO_InitStruct.Pin = GPIO_PIN_13;
  GPIO_InitStruct.Mode = GPIO_MODE_INPUT;
  GPIO_InitStruct.Pull = GPIO_NOPULL;
  HAL_GPIO_Init(GPIOC, &GPIO_InitStruct);

  /*Configure GPIO pins : BUCKBOOST_LOAD_1_Pin BUCKBOOST_LOAD_2_Pin BUCKBOOST_USBPD_EN_Pin USBPD_1A_PROTECT_Pin */
  GPIO_InitStruct.Pin = BUCKBOOST_LOAD_1_Pin|BUCKBOOST_LOAD_2_Pin|BUCKBOOST_USBPD_EN_Pin|USBPD_1A_PROTECT_Pin;
  GPIO_InitStruct.Mode = GPIO_MODE_OUTPUT_PP;
  GPIO_InitStruct.Pull = GPIO_NOPULL;
  GPIO_InitStruct.Speed = GPIO_SPEED_FREQ_LOW;
  HAL_GPIO_Init(GPIOC, &GPIO_InitStruct);

  /*Configure GPIO pin : PC0 */
  GPIO_InitStruct.Pin = GPIO_PIN_0;
  GPIO_InitStruct.Mode = GPIO_MODE_INPUT;
  GPIO_InitStruct.Pull = GPIO_PULLDOWN;
  HAL_GPIO_Init(GPIOC, &GPIO_InitStruct);

  /*Configure GPIO pins : JOYSTICK_LEFT_Pin JOYSTICK_DOWN_Pin */
  GPIO_InitStruct.Pin = JOYSTICK_LEFT_Pin|JOYSTICK_DOWN_Pin;
  GPIO_InitStruct.Mode = GPIO_MODE_IT_RISING;
  GPIO_InitStruct.Pull = GPIO_PULLUP;
  HAL_GPIO_Init(GPIOC, &GPIO_InitStruct);

  /*Configure GPIO pins : LD3_Pin LD5_Pin LD4_Pin */
  GPIO_InitStruct.Pin = LD3_Pin|LD5_Pin|LD4_Pin;
  GPIO_InitStruct.Mode = GPIO_MODE_OUTPUT_PP;
  GPIO_InitStruct.Pull = GPIO_NOPULL;
  GPIO_InitStruct.Speed = GPIO_SPEED_FREQ_LOW;
  HAL_GPIO_Init(GPIOB, &GPIO_InitStruct);

  /*Configure GPIO pins : JOYSTICK_RIGHT_Pin JOYSTICK_UP_Pin */
  GPIO_InitStruct.Pin = JOYSTICK_RIGHT_Pin|JOYSTICK_UP_Pin;
  GPIO_InitStruct.Mode = GPIO_MODE_IT_RISING;
  GPIO_InitStruct.Pull = GPIO_PULLUP;
  HAL_GPIO_Init(GPIOB, &GPIO_InitStruct);

  /*Configure GPIO pin : LD2_Pin */
  GPIO_InitStruct.Pin = LD2_Pin;
  GPIO_InitStruct.Mode = GPIO_MODE_OUTPUT_PP;
  GPIO_InitStruct.Pull = GPIO_NOPULL;
  GPIO_InitStruct.Speed = GPIO_SPEED_FREQ_LOW;
  HAL_GPIO_Init(LD2_GPIO_Port, &GPIO_InitStruct);

  /*Configure GPIO pin : USBPD_550mA_PROTECT_Pin */
  GPIO_InitStruct.Pin = USBPD_550mA_PROTECT_Pin;
  GPIO_InitStruct.Mode = GPIO_MODE_OUTPUT_PP;
  GPIO_InitStruct.Pull = GPIO_NOPULL;
  GPIO_InitStruct.Speed = GPIO_SPEED_FREQ_LOW;
  HAL_GPIO_Init(USBPD_550mA_PROTECT_GPIO_Port, &GPIO_InitStruct);

  /* EXTI interrupt init*/
  HAL_NVIC_SetPriority(EXTI2_IRQn, 0, 0);
  HAL_NVIC_EnableIRQ(EXTI2_IRQn);

  HAL_NVIC_SetPriority(EXTI4_IRQn, 0, 0);
  HAL_NVIC_EnableIRQ(EXTI4_IRQn);

  HAL_NVIC_SetPriority(EXTI9_5_IRQn, 0, 0);
  HAL_NVIC_EnableIRQ(EXTI9_5_IRQn);

  HAL_NVIC_SetPriority(EXTI15_10_IRQn, 0, 0);
  HAL_NVIC_EnableIRQ(EXTI15_10_IRQn);

}

void Error_Handler(void)
{
  __disable_irq();
  while (1)
  {
  }
}
